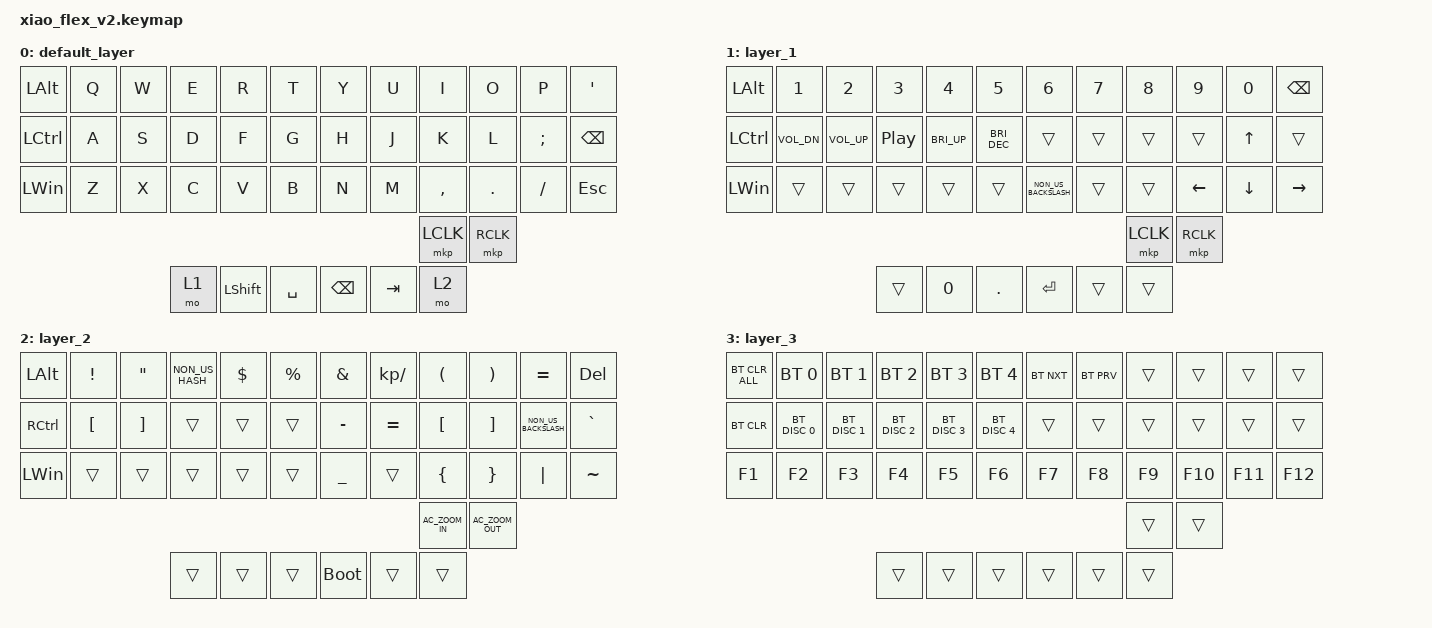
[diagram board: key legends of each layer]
/*
 * Copyright (c) 2020 The ZMK Contributors
 *
 * SPDX-License-Identifier: MIT
 */

#include <dt-bindings/led/led.h>
#include <behaviors/mouse_keys.dtsi>
#include <behaviors.dtsi>
#include <dt-bindings/zmk/bt.h>
#include <dt-bindings/zmk/keys.h>
#include <dt-bindings/zmk/mouse.h>

/ {
    combos {
        compatible = "zmk,combos";

        L3 {
            bindings = <&mo 3>;
            key-positions = <38 43>;
        };

        mm {
            bindings = <&mkp MCLK>;
            key-positions = <36 37>;
        };

        tab {
            bindings = <&kp TAB>;
            key-positions = <0 12>;
        };

        spacefv {
            bindings = <&kp C_AL_EMAIL>;
            key-positions = <40 41>;
        };
    };

    keymap {
        compatible = "zmk,keymap";

        default_layer {
            bindings = <
&kp LEFT_ALT  &kp Q  &kp W  &kp E  &kp R           &kp T        &kp Y          &kp U    &kp I      &kp O      &kp P     &kp SQT
&kp LCTRL     &kp A  &kp S  &kp D  &kp F           &kp G        &kp H          &kp J    &kp K      &kp L      &kp SEMI  &kp BACKSPACE
&kp LWIN      &kp Z  &kp X  &kp C  &kp V           &kp B        &kp N          &kp M    &kp COMMA  &kp DOT    &kp FSLH  &kp ESCAPE
                                                                                        &mkp LCLK  &mkp RCLK
                            &mo 1  &kp LEFT_SHIFT  &kp SPACE    &kp BACKSPACE  &kp TAB  &mo 2
            >;
        };

        layer_1 {
            bindings = <
&kp LEFT_ALT  &kp NUMBER_1  &kp NUMBER_2     &kp NUMBER_3      &kp NUMBER_4  &kp N5                  &kp NUMBER_6          &kp N7  &kp N8     &kp NUMBER_9    &kp N0          &kp BSPC
&kp LCTRL     &kp C_VOL_DN  &kp C_VOLUME_UP  &kp C_PLAY_PAUSE  &kp C_BRI_UP  &kp C_BRIGHTNESS_DEC    &trans                &trans  &trans     &trans          &kp UP_ARROW    &trans
&kp LEFT_WIN  &trans        &trans           &trans            &trans        &trans                  &kp NON_US_BACKSLASH  &trans  &trans     &kp LEFT_ARROW  &kp DOWN_ARROW  &kp RIGHT_ARROW
                                                                                                                                   &mkp LCLK  &mkp RCLK
                                             &trans            &kp N0        &kp DOT                 &kp ENTER             &trans  &trans
            >;
        };

        layer_2 {
            bindings = <
&kp LEFT_ALT  &kp EXCLAMATION  &kp DOUBLE_QUOTES  &kp NON_US_HASH  &kp DOLLAR  &kp PERCENT    &kp AMPERSAND   &kp KP_DIVIDE  &kp LEFT_PARENTHESIS  &kp RIGHT_PARENTHESIS  &kp EQUAL             &kp DELETE
&kp RCTRL     &kp LBKT         &kp RBKT           &trans           &trans      &trans         &kp MINUS       &kp EQUAL      &kp LEFT_BRACKET      &kp RIGHT_BRACKET      &kp NON_US_BACKSLASH  &kp GRAVE
&kp LEFT_WIN  &trans           &trans             &trans           &trans      &trans         &kp UNDERSCORE  &trans         &kp LEFT_BRACE        &kp RIGHT_BRACE        &kp PIPE              &kp TILDE
                                                                                                                             &kp C_AC_ZOOM_IN      &kp C_AC_ZOOM_OUT
                                                  &trans           &trans      &trans         &bootloader     &trans         &trans
            >;
        };

        layer_3 {
            bindings = <
&bt BT_CLR_ALL  &bt BT_SEL 0   &bt BT_SEL 1   &bt BT_SEL 2   &bt BT_SEL 3   &bt BT_SEL 4     &bt BT_NXT  &bt BT_PRV  &trans  &trans   &trans   &trans
&bt BT_CLR      &bt BT_DISC 0  &bt BT_DISC 1  &bt BT_DISC 2  &bt BT_DISC 3  &bt BT_DISC 4    &trans      &trans      &trans  &trans   &trans   &trans
&kp F1          &kp F2         &kp F3         &kp F4         &kp F5         &kp F6           &kp F7      &kp F8      &kp F9  &kp F10  &kp F11  &kp F12
                                                                                                                     &trans  &trans
                                              &trans         &trans         &trans           &trans      &trans      &trans
            >;
        };
    };
};
